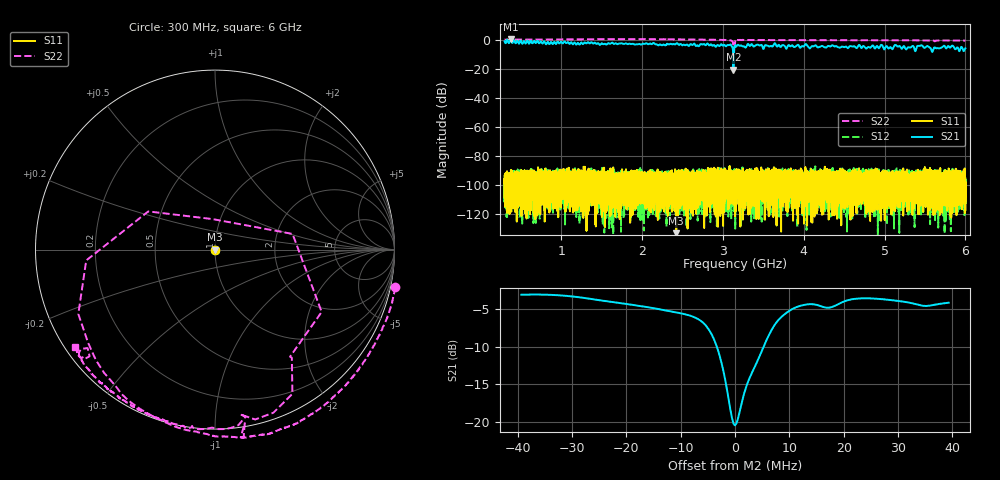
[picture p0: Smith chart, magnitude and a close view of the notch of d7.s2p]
!Agilent Technologies,N5230C,SG49000117,A.08.50.07
!Agilent N5230C: A.08.50.07
!Date: Sunday, March 17, 2024 05:36:06
!Correction: S11(Off)
!S21(Off)
!S12(Off)
!S22(Full 1 Port(2))
!S2P File: Measurements: S11, S21, S12, S22:
# Hz S  RI  R 50
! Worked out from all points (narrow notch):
!   20001 points, 300 MHz to 6 GHz, reference 50 ohm
!   highest |S21| = 0.45 dB at 373.8 MHz (marker M1); lowest = -20.5 dB at 3.13 GHz (marker M2)
!   notch at M2: 16.8 dB deep, 6.58 MHz wide at half that depth
!   lowest |S11| = -133.2 dB at 2.423 GHz (marker M3), VSWR 1.00, Z = 50 + j9.53e-06 ohm
!   |S11| at or under -10 dB: start of sweep to end of sweep
!   |S22| runs from -15.4 to 0.6 dB; largest |S21 - S12| = 1.1
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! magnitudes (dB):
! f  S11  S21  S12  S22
! 300 MHz  -96.3  -0.9  -96.2  0.2
! 373.8 MHz  -96.7  0.5  -97.8  0.2
! 1.25 GHz  -92.8  -1.7  -96.2  0.4
! 2.2 GHz  -96.5  -3.7  -99.2  0.5
! 2.423 GHz  -133.2  -2.5  -101.5  0.4
! 3.079 GHz  -101.6  -3.5  -101.0  -0.1
! 3.13 GHz  -94.4  -20.5  -93.9  -6.8
! 3.15 GHz  -103.6  -4.2  -111.1  -2.0
! 3.167 GHz  -93.0  -4.5  -108.0  -0.6
! 3.198 GHz  -93.7  -3.8  -94.2  0.0
! 3.512 GHz  -93.3  -4.8  -101.6  -0.1
! 3.644 GHz  -96.8  -2.3  -97.6  -0.1
! 3.78 GHz  -98.0  -5.8  -93.9  -0.1
! 4.026 GHz  -91.8  -2.8  -91.1  -0.2
! 4.1 GHz  -98.8  -4.3  -96.8  -0.1
! 5.05 GHz  -98.5  -5.9  -97.8  -0.2
! 5.147 GHz  -92.5  -3.9  -105.5  -0.2
! 5.383 GHz  -91.6  -7.6  -95.6  -0.3
! 5.441 GHz  -109.5  -3.9  -99.7  -0.3
! 5.582 GHz  -90.7  -7.5  -94.2  -0.3
! 5.824 GHz  -96.9  -4.5  -99.1  -0.4
! 6 GHz  -95.5  -5.8  -98.2  -0.4
